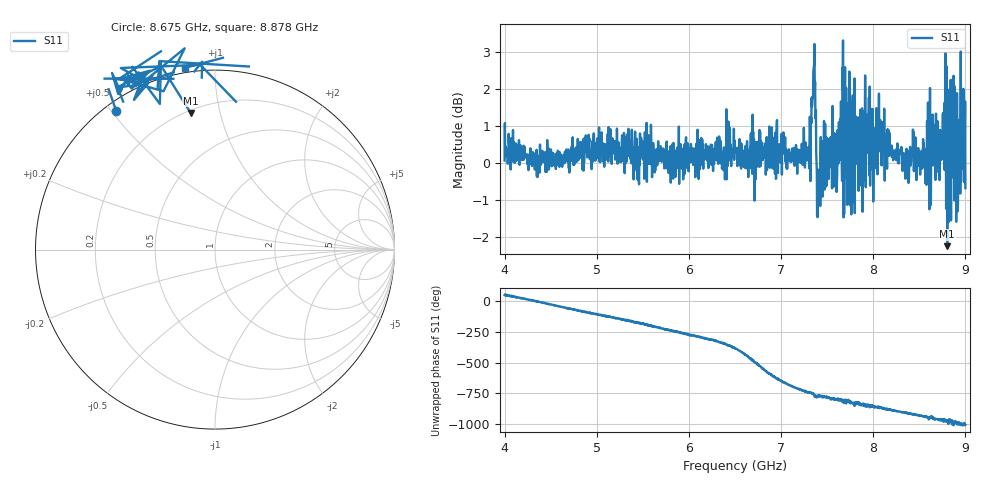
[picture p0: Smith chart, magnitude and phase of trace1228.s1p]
! Created with skrf 1.8.0 (http://scikit-rf.org).
# Hz S RI R 50.0
!freq ReS11 ImS11
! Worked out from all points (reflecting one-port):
!   1601 points, 4 GHz to 9 GHz, reference 50 ohm
!   lowest |S11| = -2.2 dB at 8.803 GHz (marker M1), VSWR 7.79, Z = 10.8 + j40.7 ohm
!   phase of S11 starts at 46 deg and turns -1052 deg over the sweep
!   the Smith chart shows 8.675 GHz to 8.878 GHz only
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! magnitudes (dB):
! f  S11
! 4 GHz  0.1
! 4.625 GHz  -0.1
! 5.25 GHz  0.1
! 5.875 GHz  0.4
! 6.5 GHz  0.3
! 7.125 GHz  0.2
! 7.294 GHz  0.2
! 7.353 GHz  2.5
! 7.409 GHz  -0.8
! 7.453 GHz  -0.1
! 7.606 GHz  -0.5
! 7.65 GHz  1.7
! 7.688 GHz  1.8
! 7.703 GHz  0.1
! 7.716 GHz  -1.1
! 7.75 GHz  -0.7
! 7.769 GHz  -0.8
! 7.8 GHz  -1.4
! 7.866 GHz  -0.4
! 7.928 GHz  1.1
! 8 GHz  -1.0
! 8.088 GHz  0.5
! 8.375 GHz  -0.1
! 8.803 GHz  -2.2
! 8.884 GHz  2.1
! 8.919 GHz  -1.1
! 8.972 GHz  0.8
! 9 GHz  -0.7
